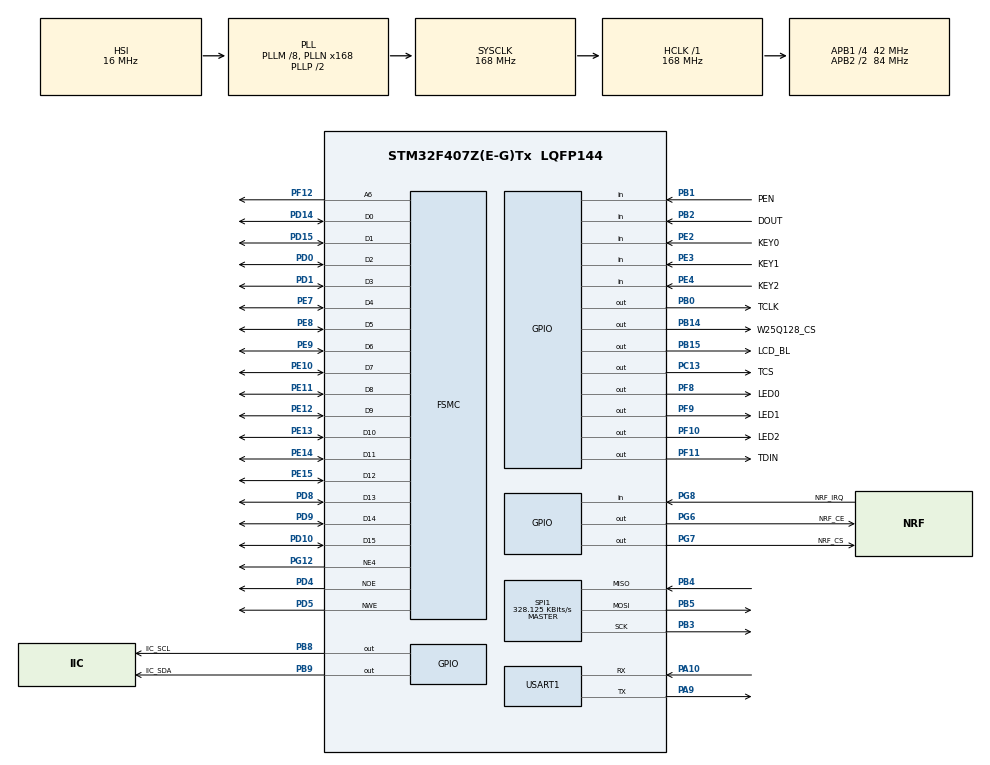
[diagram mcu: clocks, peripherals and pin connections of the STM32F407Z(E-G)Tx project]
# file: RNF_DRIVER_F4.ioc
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PH0-OSC_IN.Signal=RCC_OSC_IN
PF10.GPIO_ModeDefaultOutputPP=GPIO_MODE_OUTPUT_PP
SH.FSMC_D1_DA1.0=FSMC_D1,16b-d1
SPI1.VirtualType=VM_MASTER
PG8.Signal=GPIO_Input
PB14.GPIO_Label=W25Q128_CS
PG6.GPIO_Label=NRF_CE
SH.FSMC_NWE.0=FSMC_NWE,Lcd1
PE8.GPIO_PuPd=GPIO_PULLUP
PE10.GPIO_PuPd=GPIO_PULLUP
PD10.GPIO_PuPd=GPIO_PULLUP
FSMC.ExtendedBusTurnAroundDuration1=0
PF10.GPIO_PuPd=GPIO_PULLUP
PF8.PinState=GPIO_PIN_SET
PB3.GPIO_Speed=GPIO_SPEED_FREQ_VERY_HIGH
RCC.SYSCLKSource=RCC_SYSCLKSOURCE_PLLCLK
SPI1.Direction=SPI_DIRECTION_2LINES
PD4.Signal=FSMC_NOE
RCC.APB2TimFreq_Value=168000000
SPI1.CalculateBaudRate=328.125 KBits/s
PD0.Signal=FSMC_D2_DA2
PD8.Signal=FSMC_D13_DA13
PF10.GPIO_Label=LED2
PB2.Signal=GPIO_Input
PB3.Mode=Full_Duplex_Master
PC13-ANTI_TAMP.Signal=GPIO_Output
PG6.GPIO_PuPd=GPIO_PULLUP
SH.FSMC_D10_DA10.0=FSMC_D10,16b-d1
PF8.GPIO_ModeDefaultOutputPP=GPIO_MODE_OUTPUT_PP
PE9.Signal=FSMC_D6_DA6
PB1.GPIO_Label=PEN
SPI1.DataSize=SPI_DATASIZE_8BIT
PE4.GPIO_Label=KEY2
PE2.Signal=GPIO_Input
PD14.GPIO_PuPd=GPIO_PULLUP
FSMC.BusTurnAroundDuration1=0
PE10.Signal=FSMC_D7_DA7
SH.FSMC_D5_DA5.0=FSMC_D5,16b-d1
PB2.GPIO_PuPd=GPIO_PULLUP
Mcu.Package=LQFP144
PB9.Signal=GPIO_Output
PB14.GPIO_PuPd=GPIO_PULLUP
PB1.Signal=GPIO_Input
PA10.Signal=USART1_RX
PB9.GPIO_PuPd=GPIO_PULLUP
PB5.GPIO_Speed=GPIO_SPEED_FREQ_VERY_HIGH
RCC.APB2CLKDivider=RCC_HCLK_DIV2
SH.FSMC_D3_DA3.0=FSMC_D3,16b-d1
PG12.GPIO_PuPd=GPIO_PULLUP
RCC.APB1TimFreq_Value=84000000
PF9.GPIO_PuPd=GPIO_PULLUP
PD9.GPIO_PuPd=GPIO_PULLUP
PD15.Signal=FSMC_D1_DA1
PG6.GPIO_Speed=GPIO_SPEED_FREQ_VERY_HIGH
PE12.GPIO_PuPd=GPIO_PULLUP
PG12.Signal=FSMC_NE4
PB5.GPIO_Mode=GPIO_MODE_AF_PP
FSMC.ExtendedAddressSetupTime1=9
PC13-ANTI_TAMP.GPIO_Label=TCS
PB8.GPIO_PuPd=GPIO_PULLUP
PD1.Signal=FSMC_D3_DA3
SH.FSMC_D9_DA9.0=FSMC_D9,16b-d1
SPI1.CLKPhase=SPI_PHASE_2EDGE
PD1.GPIO_PuPd=GPIO_PULLUP
RCC.APB1CLKDivider=RCC_HCLK_DIV4
SH.FSMC_D8_DA8.0=FSMC_D8,16b-d1
PG8.GPIO_PuPd=GPIO_PULLUP
PF8.GPIO_Label=LED0
PD10.Signal=FSMC_D15_DA15
PF11.GPIO_Speed=GPIO_SPEED_FREQ_VERY_HIGH
PB8.GPIO_Label=IIC_SCL
PB14.GPIO_Speed=GPIO_SPEED_FREQ_VERY_HIGH
FSMC.DataSetupTime1=60
PB1.GPIO_Mode=GPIO_MODE_INPUT
PA9.Signal=USART1_TX
PB4.GPIO_PuPd=GPIO_PULLUP
PB14.Signal=GPIO_Output
PE2.GPIO_PuPd=GPIO_PULLUP
SH.FSMC_D7_DA7.0=FSMC_D7,16b-d1
PE14.Signal=FSMC_D11_DA11
SPI1.CRCCalculation=SPI_CRCCALCULATION_DISABLE
PE15.Signal=FSMC_D12_DA12
PB15.GPIO_Label=LCD_BL
PE8.Signal=FSMC_D5_DA5
SPI1.Mode=SPI_MODE_MASTER
PG7.GPIO_Label=NRF_CS
PE3.GPIO_PuPd=GPIO_PULLUP
PB3.GPIO_Mode=GPIO_MODE_AF_PP
PA13.Mode=Serial_Wire
PE4.GPIO_PuPd=GPIO_PULLUP
PG7.GPIO_ModeDefaultOutputPP=GPIO_MODE_OUTPUT_PP
PB5.Signal=SPI1_MOSI
PB5.GPIO_PuPd=GPIO_PULLUP
USART1.VirtualMode=VM_ASYNC
SH.FSMC_D15_DA15.0=FSMC_D15,16b-d1
ProjectManager.HeapSize=0x200
PD0.GPIO_PuPd=GPIO_PULLUP
PF9.Signal=GPIO_Output
PF9.GPIO_ModeDefaultOutputPP=GPIO_MODE_OUTPUT_PP
NVIC.PriorityGroup=NVIC_PRIORITYGROUP_4
PF12.GPIO_PuPd=GPIO_PULLUP
PE3.Signal=GPIO_Input
PF10.PinState=GPIO_PIN_SET
PB0.Signal=GPIO_Output
Mcu.Family=STM32F4
FSMC.AddressSetupTime1=0x0f
PE7.GPIO_PuPd=GPIO_PULLUP
RCC.CortexFreq_Value=168000000
PG6.Signal=GPIO_Output
SH.FSMC_A6.0=FSMC_A6,A6_1
SH.FSMC_D0_DA0.0=FSMC_D0,16b-d1
PF9.GPIO_Speed=GPIO_SPEED_FREQ_VERY_HIGH
PB0.GPIO_Label=TCLK
PD8.GPIO_PuPd=GPIO_PULLUP
PB15.Signal=GPIO_Output
ProjectManager.StackSize=0x400
SPI1.CLKPolarity=SPI_POLARITY_HIGH
PB4.GPIO_Mode=GPIO_MODE_AF_PP
PE11.GPIO_PuPd=GPIO_PULLUP
PB1.GPIO_PuPd=GPIO_PULLUP
RCC.HCLKFreq_Value=168000000
PF11.GPIO_Label=TDIN
PF12.Signal=FSMC_A6
RCC.AHBFreq_Value=168000000
PH0-OSC_IN.Mode=HSE-External-Oscillator
RCC.HSE_VALUE=8000000
PE13.GPIO_PuPd=GPIO_PULLUP
PB3.GPIO_PuPd=GPIO_PULLUP
PB4.Mode=Full_Duplex_Master
PE13.Signal=FSMC_D10_DA10
SH.FSMC_D14_DA14.0=FSMC_D14,16b-d1
PF8.GPIO_PuPd=GPIO_PULLUP
PA14.Mode=Serial_Wire
PF11.Signal=GPIO_Output
PB5.Mode=Full_Duplex_Master
SH.FSMC_D6_DA6.0=FSMC_D6,16b-d1
PG7.GPIO_PuPd=GPIO_PULLUP
PE4.Signal=GPIO_Input
SH.FSMC_D4_DA4.0=FSMC_D4,16b-d1
PG6.GPIO_ModeDefaultOutputPP=GPIO_MODE_OUTPUT_PP
PH1-OSC_OUT.Mode=HSE-External-Oscillator
PB15.GPIO_PuPd=GPIO_PULLUP
PD15.GPIO_PuPd=GPIO_PULLUP
SH.FSMC_D13_DA13.0=FSMC_D13,16b-d1
PF8.Signal=GPIO_Output
PB9.GPIO_Speed=GPIO_SPEED_FREQ_VERY_HIGH
SH.FSMC_D2_DA2.0=FSMC_D2,16b-d1
PE7.Signal=FSMC_D4_DA4
SPI1.BaudRatePrescaler=SPI_BAUDRATEPRESCALER_256
PE2.GPIO_Label=KEY0
PB4.Signal=SPI1_MISO
SH.FSMC_D12_DA12.0=FSMC_D12,16b-d1
PG7.Signal=GPIO_Output
PB9.GPIO_Label=IIC_SDA
PA10.Mode=Asynchronous
FSMC.ExtendedMode1=FSMC_EXTENDED_MODE_ENABLE
PF10.GPIO_Speed=GPIO_SPEED_FREQ_VERY_HIGH
PD9.Signal=FSMC_D14_DA14
PD5.Signal=FSMC_NWE
PB0.GPIO_Speed=GPIO_SPEED_FREQ_VERY_HIGH
PG8.GPIO_Label=NRF_IRQ
PA13.Signal=SYS_JTMS-SWDIO
PD4.GPIO_PuPd=GPIO_PULLUP
PA9.Mode=Asynchronous
PB14.PinState=GPIO_PIN_SET
ProjectManager.TargetToolchain=STM32CubeIDE
PF9.PinState=GPIO_PIN_SET
PF9.GPIO_Label=LED1
PE11.Signal=FSMC_D8_DA8
RCC.LSE_VALUE=32768
FSMC.ExtendedDataSetupTime1=8
board=custom
PG12.Mode=NorPsramChipSelect4_1
RCC.VCOOutputFreq_Value=336000000
PB4.GPIO_Speed=GPIO_SPEED_FREQ_VERY_HIGH
PG7.GPIO_Speed=GPIO_SPEED_FREQ_VERY_HIGH
RCC.APB2Freq_Value=84000000
PF10.Signal=GPIO_Output
PB15.GPIO_Speed=GPIO_SPEED_FREQ_MEDIUM
PH1-OSC_OUT.Signal=RCC_OSC_OUT
PD5.GPIO_PuPd=GPIO_PULLUP
PE14.GPIO_PuPd=GPIO_PULLUP
Mcu.Name=STM32F407Z(E-G)Tx
PE12.Signal=FSMC_D9_DA9
PD14.Signal=FSMC_D0_DA0
RCC.48MHZClocksFreq_Value=84000000
PB3.Signal=SPI1_SCK
RCC.SYSCLKFreq_VALUE=168000000
PA14.Signal=SYS_JTCK-SWCLK
PB2.GPIO_Label=DOUT
PE15.GPIO_PuPd=GPIO_PULLUP
SH.FSMC_D11_DA11.0=FSMC_D11,16b-d1
SH.FSMC_NOE.0=FSMC_NOE,Lcd1
RCC.HSI_VALUE=16000000
RCC.PLLM=8
RCC.PLLN=168
PF8.GPIO_Speed=GPIO_SPEED_FREQ_VERY_HIGH
PB8.Signal=GPIO_Output
PE3.GPIO_Label=KEY1
RCC.APB1Freq_Value=42000000
PB8.GPIO_Speed=GPIO_SPEED_FREQ_VERY_HIGH
PB0.GPIO_PuPd=GPIO_PULLUP
PE9.GPIO_PuPd=GPIO_PULLUP

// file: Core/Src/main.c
/* USER CODE BEGIN Header */
/**
  ******************************************************************************
  * @file           : main.c
  * @brief          : Main program body
  ******************************************************************************
  * @attention
  *
  * <h2><center>&copy; Copyright (c) 2021 STMicroelectronics.
  * All rights reserved.</center></h2>
  *
  * This software component is licensed by ST under BSD 3-Clause license,
  * the "License"; You may not use this file except in compliance with the
  * License. You may obtain a copy of the License at:
  *                        opensource.org/licenses/BSD-3-Clause
  *
  ******************************************************************************
  */
/* USER CODE END Header */
#include "main.h"
#include "spi.h"
#include "usart.h"
#include "gpio.h"
#include "fsmc.h"

/* USER CODE BEGIN Includes */
#include "lcd.h"
#include "touch.h"
#include "24l01.h"
/* USER CODE END Includes */

void SystemClock_Config(void);

int main(void)
{
  /* USER CODE BEGIN 1 */
  u8 key,mode;
  u16 t=0;
  u8 tmp_buf[33];

  /* USER CODE END 1 */

  /* MCU Configuration--------------------------------------------------------*/

  /* Reset of all peripherals, Initializes the Flash interface and the Systick. */
  HAL_Init();

  /* Configure the system clock */
  SystemClock_Config();

  /* Initialize all configured peripherals */
  MX_GPIO_Init();
  MX_FSMC_Init();
  MX_SPI1_Init();
  MX_USART1_UART_Init();
  /* USER CODE BEGIN 2 */

  delay_init(168);
	LCD_Init();
	tp_dev.init();
 	NRF24L01_Init();

 	POINT_COLOR=RED;//
	LCD_ShowString(30,50,200,16,16,(u8 *)"Explorer STM32F4");
	LCD_ShowString(30,70,200,16,16,(u8 *)"NRF24L01 TEST");
	LCD_ShowString(30,90,200,16,16,(u8 *)"ATOM@ALIENTEK");
	LCD_ShowString(30,110,200,16,16,(u8 *)"2014/5/9");
	while(NRF24L01_Check())
	{
		LCD_ShowString(30,130,200,16,16,(u8 *)"NRF24L01 Error");
		delay_ms(200);
		LCD_Fill(30,130,239,130+16,WHITE);
 		delay_ms(200);
	}
	LCD_ShowString(30,130,200,16,16,(u8 *)"NRF24L01 OK");
 	while(1)
	{
		key=KEY_Scan(0);
		if(key==KEY0_PRES)
		{
			mode=0;
			break;
		}else if(key==KEY1_PRES)
		{
			mode=1;
			break;
		}
		t++;
		if(t==100)LCD_ShowString(10,150,230,16,16,(u8 *)"KEY0:RX_Mode  KEY1:TX_Mode");
 		if(t==200)
		{
			LCD_Fill(10,150,230,150+16,WHITE);
			t=0;
		}
		delay_ms(5);
	}
 	LCD_Fill(10,150,240,166,WHITE);
 	POINT_COLOR=BLUE;
   	if(mode==0)
	{
		LCD_ShowString(30,150,200,16,16,(u8 *)"NRF24L01 RX_Mode");
		LCD_ShowString(30,170,200,16,16,(u8 *)"Received DATA:");
		NRF24L01_RX_Mode();
		while(1)
		{
			if(NRF24L01_RxPacket(tmp_buf)==0)
			{
				tmp_buf[32]=0;
				LCD_ShowString(0,190,lcddev.width-1,32,16,tmp_buf);
			}else delay_us(100);
			t++;
			if(t==10000)
			{
				t=0;
				LED0_T;
			}
		};
	}else
	{
		LCD_ShowString(30,150,200,16,16,(u8 *)"NRF24L01 TX_Mode");
		NRF24L01_TX_Mode();
		mode=' ';
		while(1)
		{
			if(NRF24L01_TxPacket(tmp_buf)==TX_OK)
			{
				LCD_ShowString(30,170,239,32,16,(u8 *)"Sended DATA:");
				LCD_ShowString(0,190,lcddev.width-1,32,16,tmp_buf);
				key=mode;
				for(t=0;t<32;t++)
				{
					key++;
					if(key>('~'))key=' ';
					tmp_buf[t]=key;
				}
				mode++;
				if(mode>'~')mode=' ';
				tmp_buf[32]=0;
			}else
			{
 				LCD_Fill(0,170,lcddev.width,170+16*3,WHITE);
				LCD_ShowString(30,170,lcddev.width-1,32,16,(u8 *)"Send Failed ");
			};
			LED0_T;
			delay_ms(1500);
		};
	}
  /* USER CODE END 2 */

  /* Infinite loop */
  while (1)
  {

  }
}

void SystemClock_Config(void)
{
  RCC_OscInitTypeDef RCC_OscInitStruct = {0};
  RCC_ClkInitTypeDef RCC_ClkInitStruct = {0};

  /** Configure the main internal regulator output voltage
  */
  __HAL_RCC_PWR_CLK_ENABLE();
  __HAL_PWR_VOLTAGESCALING_CONFIG(PWR_REGULATOR_VOLTAGE_SCALE1);
  /** Initializes the RCC Oscillators according to the specified parameters
  * in the RCC_OscInitTypeDef structure.
  */
  RCC_OscInitStruct.OscillatorType = RCC_OSCILLATORTYPE_HSI;
  RCC_OscInitStruct.HSIState = RCC_HSI_ON;
  RCC_OscInitStruct.HSICalibrationValue = RCC_HSICALIBRATION_DEFAULT;
  RCC_OscInitStruct.PLL.PLLState = RCC_PLL_ON;
  RCC_OscInitStruct.PLL.PLLSource = RCC_PLLSOURCE_HSI;
  RCC_OscInitStruct.PLL.PLLM = 8;
  RCC_OscInitStruct.PLL.PLLN = 168;
  RCC_OscInitStruct.PLL.PLLP = RCC_PLLP_DIV2;
  RCC_OscInitStruct.PLL.PLLQ = 4;
  if (HAL_RCC_OscConfig(&RCC_OscInitStruct) != HAL_OK)
  {
    Error_Handler();
  }
  /** Initializes the CPU, AHB and APB buses clocks
  */
  RCC_ClkInitStruct.ClockType = RCC_CLOCKTYPE_HCLK|RCC_CLOCKTYPE_SYSCLK
                              |RCC_CLOCKTYPE_PCLK1|RCC_CLOCKTYPE_PCLK2;
  RCC_ClkInitStruct.SYSCLKSource = RCC_SYSCLKSOURCE_PLLCLK;
  RCC_ClkInitStruct.AHBCLKDivider = RCC_SYSCLK_DIV1;
  RCC_ClkInitStruct.APB1CLKDivider = RCC_HCLK_DIV4;
  RCC_ClkInitStruct.APB2CLKDivider = RCC_HCLK_DIV2;

  if (HAL_RCC_ClockConfig(&RCC_ClkInitStruct, FLASH_LATENCY_5) != HAL_OK)
  {
    Error_Handler();
  }
}

void Error_Handler(void)
{
  __disable_irq();
  while (1)
  {
  }
}

/************************ (C) COPYRIGHT STMicroelectronics *****END OF FILE****/
